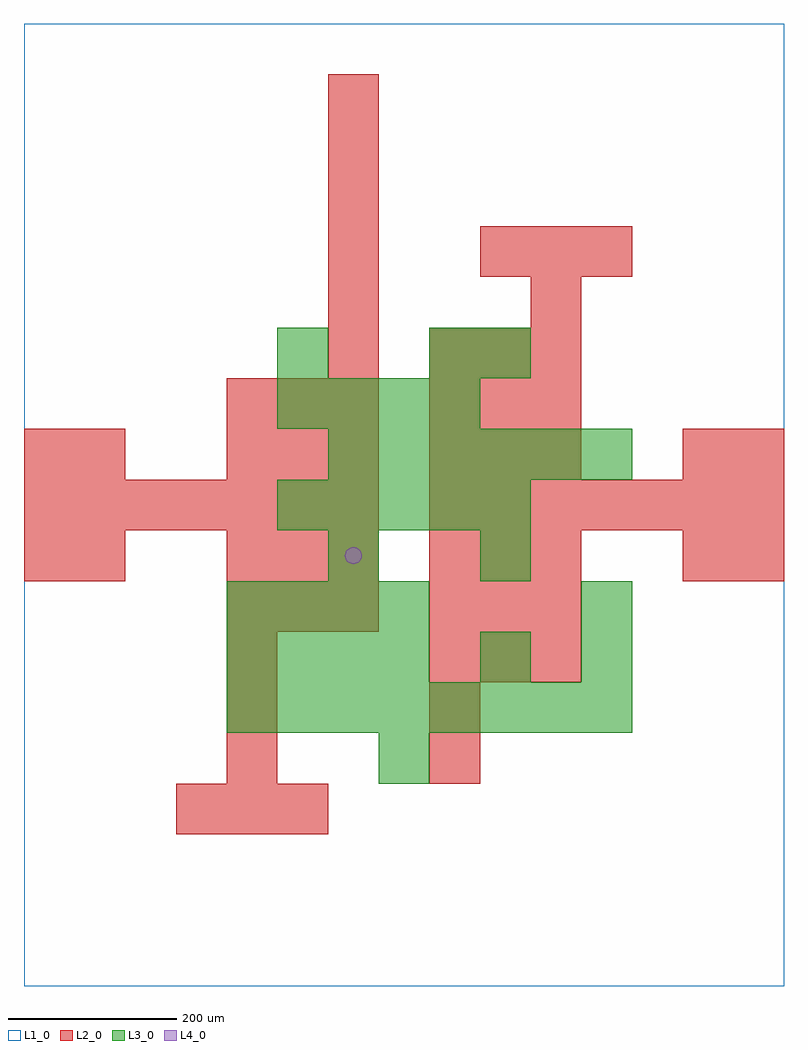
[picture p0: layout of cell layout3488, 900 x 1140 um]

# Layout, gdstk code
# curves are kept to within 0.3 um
import gdstk
lib = gdstk.Library(unit=1e-6, precision=1e-09)
def R(c, l, rs):  # rectangles x0, y0, x1, y1
    for r in rs: c.add(gdstk.rectangle(r[:2], r[2:], *l))
def A(c, l, x, y, w, h, nx, ny, dx, dy):  # array of equal rectangles
    R(c, l, [(x+i*dx, y+j*dy, x+i*dx+w, y+j*dy+h) for i in range(nx) for j in range(ny)])
def P(c, l, *ps):  # polygons
    for p in ps: c.add(gdstk.Polygon(p, *l))
L1_0 = (1, 0)
L2_0 = (2, 0)
L3_0 = (3, 0)
L4_0 = (4, 0)

layout3488 = lib.new_cell('layout3488')
R(layout3488, L1_0, [(0,0,900,1140)])
A(layout3488, L2_0, 180, 180, 60, 60, 3, 1, 60, 0)
A(layout3488, L2_0, 240, 240, 60, 60, 1, 3, 0, 60)
A(layout3488, L2_0, 480, 360, 60, 60, 3, 3, 60, 60)
A(layout3488, L2_0, 240, 420, 60, 60, 3, 2, 60, 60)
A(layout3488, L2_0, 0, 540, 60, 60, 7, 1, 60, 0)
A(layout3488, L2_0, 480, 540, 60, 60, 7, 1, 60, 0)
A(layout3488, L2_0, 240, 600, 60, 60, 3, 2, 60, 60)
A(layout3488, L2_0, 480, 600, 60, 60, 3, 3, 60, 60)
A(layout3488, L2_0, 360, 720, 60, 60, 1, 6, 0, 60)
A(layout3488, L2_0, 540, 840, 60, 60, 3, 1, 60, 0)
R(layout3488, L2_0, [(480,240,540,300), (480,300,540,360), (0,480,60,540), (60,480,120,540), (780,480,840,540), (840,480,900,540), (0,600,60,660), (60,600,120,660), (780,600,840,660), (840,600,900,660), (600,780,660,840)])
A(layout3488, L3_0, 240, 300, 60, 60, 8, 1, 60, 0)
A(layout3488, L3_0, 240, 360, 60, 60, 4, 2, 60, 60)
A(layout3488, L3_0, 300, 540, 60, 60, 5, 1, 60, 0)
A(layout3488, L3_0, 360, 600, 60, 60, 6, 1, 60, 0)
A(layout3488, L3_0, 300, 660, 60, 60, 4, 1, 60, 0)
R(layout3488, L3_0, [(420,240,480,300), (540,360,600,420), (660,360,720,420), (660,420,720,480), (360,480,420,540), (540,480,600,540), (300,720,360,780), (480,720,540,780), (540,720,600,780)])
P(layout3488, L4_0, [(400,510),(399.239,513.827),(397.071,517.071),(393.827,519.239),(390,520),(386.173,519.239),(382.929,517.071),(380.761,513.827),(380,510),(380.761,506.173),(382.929,502.929),(386.173,500.761),(390,500),(393.827,500.761),(397.071,502.929),(399.239,506.173)])

lib.write_gds('layout3488.gds')
